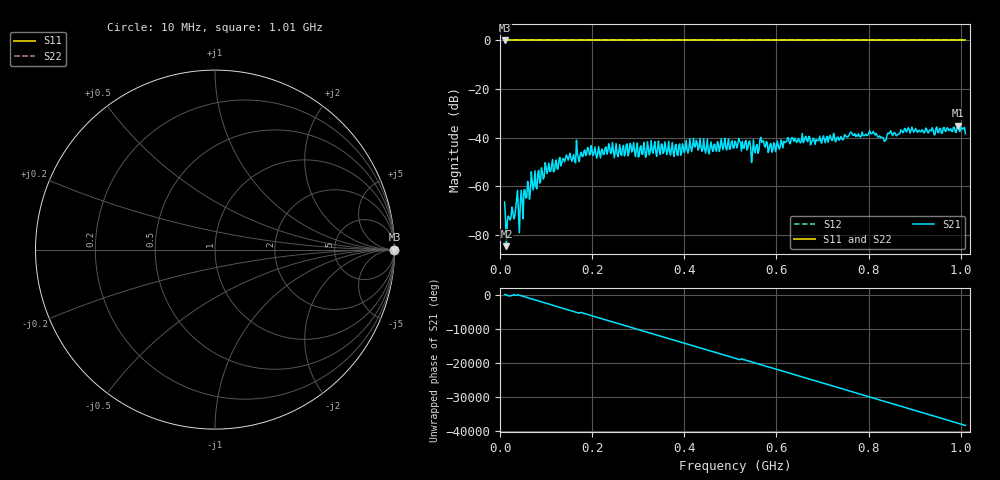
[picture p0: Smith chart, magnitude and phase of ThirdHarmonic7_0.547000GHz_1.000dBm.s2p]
! 8/17/2025 4:32:05 PM
! C:\ANRITSUVNA\TEMP\TEMP.S2P
! CHANNEL.1
! TR.MEASUREMENT
! RAW.DATA
! RF.CORRECTION.OFF
! AVERAGING.OFF
! IF.BANDWIDTH: 5KHZ
! SWEEPTYPE:  FREQ.SWEEP(Linear)
! Reference Plane Port Info
! PORT:  PORT1  PORT2
! DISTANCE:  0  m  0  m
! TIME:  0  s  0  s
! PHASE.OFFSET:  0  deg.  0  deg.
! LOSS:  0  dB  0  dB
! REF.LOSS:  0  dB  0  dB
! REF.FREQ:  0  Hz  0  Hz
! Power Info
! POWER:  -20  dBm  -20  dBm
! EFF.POWER:  -20  dBm  -20  dBm
! SOURCE.ATTEN:  0  dB  0  dB
! TEST.ATTEN:  0  dB  0  dB
# GHZ S RI R 50.0
! FREQ.GHZ  S11RE  S11IM  S21RE  S21IM  S12RE  S12IM  S22RE  S22IM
!; PortSelection: Port_12
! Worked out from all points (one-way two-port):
!   501 points, 10 MHz to 1.01 GHz, reference 50 ohm
!   highest |S21| = -34.96 dB at 994 MHz (marker M1); lowest = -84.5 dB at 14 MHz (marker M2)
!   lowest |S11| = 0.0 dB at 10 MHz (marker M3)
!   |S11| at or under -10 dB: nowhere
!   |S22| runs from 0.0 to 0.0 dB; largest |S21 - S12| = 1
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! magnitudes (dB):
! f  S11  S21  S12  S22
! 10 MHz  0.0  -66.4  0.0  0.0
! 14 MHz  0.0  -84.5  0.0  0.0
! 18 MHz  0.0  -72.1  0.0  0.0
! 36 MHz  0.0  -65.4  0.0  0.0
! 46 MHz  0.0  -61.6  0.0  0.0
! 56 MHz  0.0  -64.8  0.0  0.0
! 102 MHz  0.0  -54.7  0.0  0.0
! 178 MHz  0.0  -47.6  0.0  0.0
! 286 MHz  0.0  -45.8  0.0  0.0
! 344 MHz  0.0  -41.3  0.0  0.0
! 510 MHz  0.0  -41.3  0.0  0.0
! 538 MHz  0.0  -44.2  0.0  0.0
! 550 MHz  0.0  -40.8  0.0  0.0
! 568 MHz  0.0  -41.9  0.0  0.0
! 586 MHz  0.0  -42.7  0.0  0.0
! 636 MHz  0.0  -40.5  0.0  0.0
! 678 MHz  0.0  -41.2  0.0  0.0
! 806 MHz  0.0  -38.3  0.0  0.0
! 834 MHz  0.0  -41.4  0.0  0.0
! 844 MHz  0.0  -38.3  0.0  0.0
! 994 MHz  0.0  -35.0  0.0  0.0
! 1.01 GHz  0.0  -38.2  0.0  0.0
